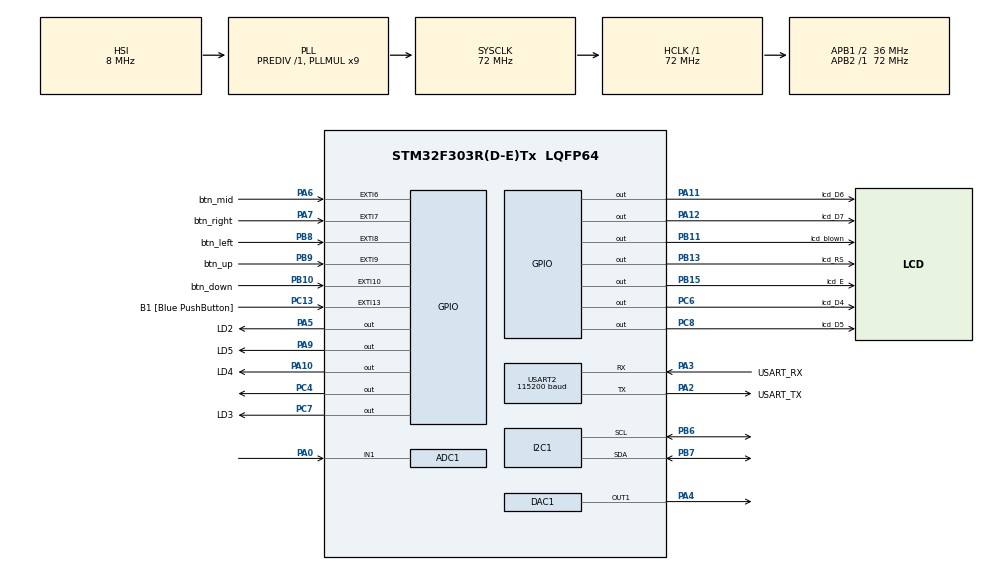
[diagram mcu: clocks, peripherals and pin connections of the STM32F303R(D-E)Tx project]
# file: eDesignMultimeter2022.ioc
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ADC1.Channel-0\#ChannelRegularConversion=ADC_CHANNEL_1
ADC1.NbrOfConversionFlag=1
ADC1.Offset-0\#ChannelRegularConversion=0
ADC1.OffsetNumber-0\#ChannelRegularConversion=ADC_OFFSET_NONE
ADC1.Rank-0\#ChannelRegularConversion=1
ADC1.SamplingTime-0\#ChannelRegularConversion=ADC_SAMPLETIME_1CYCLE_5
ADC1.master=1
DAC1.DAC_Trigger=DAC_TRIGGER_T2_TRGO
Dma.DAC1_CH1.0.Direction=DMA_MEMORY_TO_PERIPH
Dma.DAC1_CH1.0.Instance=DMA1_Channel3
Dma.DAC1_CH1.0.MemDataAlignment=DMA_MDATAALIGN_WORD
Dma.DAC1_CH1.0.MemInc=DMA_MINC_ENABLE
Dma.DAC1_CH1.0.Mode=DMA_CIRCULAR
Dma.DAC1_CH1.0.PeriphDataAlignment=DMA_PDATAALIGN_WORD
Dma.DAC1_CH1.0.PeriphInc=DMA_PINC_DISABLE
Dma.DAC1_CH1.0.Priority=DMA_PRIORITY_LOW
Dma.Request0=DAC1_CH1
Mcu.Family=STM32F3
Mcu.Name=STM32F303R(D-E)Tx
Mcu.Package=LQFP64
NVIC.DMA1_Channel3_IRQn=true\:0\:0\:false\:false\:true\:false\:true
NVIC.EXTI15_10_IRQn=true\:0\:0\:false\:false\:true\:true\:true
NVIC.EXTI9_5_IRQn=true\:0\:0\:false\:false\:true\:true\:true
NVIC.PriorityGroup=NVIC_PRIORITYGROUP_0
NVIC.TIM1_BRK_TIM15_IRQn=true\:0\:0\:false\:false\:true\:true\:true
NVIC.TIM1_TRG_COM_TIM17_IRQn=true\:0\:0\:false\:false\:true\:true\:true
NVIC.TIM1_UP_TIM16_IRQn=true\:0\:0\:false\:false\:true\:true\:true
NVIC.TIM2_IRQn=true\:0\:0\:false\:false\:true\:true\:true
NVIC.USART2_IRQn=true\:0\:0\:false\:false\:true\:true\:true
PA0.Mode=IN1-Single-Ended
PA0.Signal=ADC1_IN1
PA10.GPIO_Label=LD4
PA10.Signal=GPIO_Output
PA11.GPIO_Label=lcd_D6
PA11.GPIO_ModeDefaultOutputPP=GPIO_MODE_OUTPUT_OD
PA11.Signal=GPIO_Output
PA12.GPIO_Label=lcd_D7
PA12.GPIO_ModeDefaultOutputPP=GPIO_MODE_OUTPUT_OD
PA12.Signal=GPIO_Output
PA13.GPIO_Label=TMS
PA13.Mode=Serial_Wire
PA13.Signal=SYS_JTMS-SWDIO
PA14.GPIO_Label=TCK
PA14.Mode=Serial_Wire
PA14.Signal=SYS_JTCK-SWCLK
PA2.GPIO_Label=USART_TX
PA2.GPIO_Mode=GPIO_MODE_AF_PP
PA2.GPIO_PuPd=GPIO_NOPULL
PA2.GPIO_Speed=GPIO_SPEED_FREQ_LOW
PA2.Mode=Asynchronous
PA2.Signal=USART2_TX
PA3.GPIO_Label=USART_RX
PA3.GPIO_Mode=GPIO_MODE_AF_PP
PA3.GPIO_PuPd=GPIO_NOPULL
PA3.GPIO_Speed=GPIO_SPEED_FREQ_LOW
PA3.Mode=Asynchronous
PA3.Signal=USART2_RX
PA4.Signal=COMP_DAC11_group
PA5.GPIO_Label=LD2
PA5.GPIO_Mode=GPIO_MODE_OUTPUT_PP
PA5.GPIO_PuPd=GPIO_NOPULL
PA5.GPIO_Speed=GPIO_SPEED_FREQ_LOW
PA5.Signal=GPIO_Output
PA6.GPIO_Label=btn_mid
PA6.GPIO_ModeDefaultEXTI=GPIO_MODE_IT_RISING_FALLING
PA6.GPIO_PuPd=GPIO_PULLUP
PA6.Signal=GPXTI6
PA7.GPIO_Label=btn_right
PA7.GPIO_PuPd=GPIO_PULLUP
PA7.Signal=GPXTI7
PA9.GPIO_Label=LD5
PA9.Signal=GPIO_Output
PB10.GPIO_Label=btn_down
PB10.GPIO_PuPd=GPIO_PULLUP
PB10.Signal=GPXTI10
PB11.GPIO_Label=lcd_blown
PB11.GPIO_ModeDefaultOutputPP=GPIO_MODE_OUTPUT_OD
PB11.Signal=GPIO_Output
PB13.GPIO_Label=lcd_RS
PB13.GPIO_ModeDefaultOutputPP=GPIO_MODE_OUTPUT_PP
PB13.Signal=GPIO_Output
PB15.GPIO_Label=lcd_E
PB15.GPIO_ModeDefaultOutputPP=GPIO_MODE_OUTPUT_PP
PB15.Signal=GPIO_Output
PB3.GPIO_Label=SWO
PB3.Signal=SYS_JTDO-TRACESWO
PB6.Mode=I2C
PB6.Signal=I2C1_SCL
PB7.Mode=I2C
PB7.Signal=I2C1_SDA
PB8.GPIO_Label=btn_left
PB8.GPIO_PuPd=GPIO_PULLUP
PB8.Signal=GPXTI8
PB9.GPIO_Label=btn_up
PB9.GPIO_PuPd=GPIO_PULLUP
PB9.Signal=GPXTI9
PC13.GPIO_Label=B1 [Blue PushButton]
PC13.GPIO_ModeDefaultEXTI=GPIO_MODE_IT_FALLING
PC13.Signal=GPXTI13
PC14-OSC32_IN.Mode=LSE-External-Oscillator
PC14-OSC32_IN.Signal=RCC_OSC32_IN
PC15-OSC32_OUT.Mode=LSE-External-Oscillator
PC15-OSC32_OUT.Signal=RCC_OSC32_OUT
PC4.GPIO_PuPd=GPIO_NOPULL
PC4.Signal=GPIO_Output
PC6.GPIO_Label=lcd_D4
PC6.GPIO_ModeDefaultOutputPP=GPIO_MODE_OUTPUT_OD
PC6.Signal=GPIO_Output
PC7.GPIO_Label=LD3
PC7.Signal=GPIO_Output
PC8.GPIO_Label=lcd_D5
PC8.GPIO_ModeDefaultOutputPP=GPIO_MODE_OUTPUT_OD
PC8.Signal=GPIO_Output
PF0-OSC_IN.Mode=HSE-External-Clock-Source
PF0-OSC_IN.Signal=RCC_OSC_IN
PF1-OSC_OUT.Signal=RCC_OSC_OUT
ProjectManager.HeapSize=0x200
ProjectManager.StackSize=0x400
ProjectManager.TargetToolchain=STM32CubeIDE
RCC.AHBFreq_Value=72000000
RCC.APB1CLKDivider=RCC_HCLK_DIV2
RCC.APB1Freq_Value=36000000
RCC.APB1TimFreq_Value=72000000
RCC.APB2Freq_Value=72000000
RCC.APB2TimFreq_Value=72000000
RCC.CortexFreq_Value=72000000
RCC.HCLKFreq_Value=72000000
RCC.HSE_VALUE=8000000
RCC.HSI_VALUE=8000000
RCC.PLLM=8
RCC.PLLMUL=RCC_PLL_MUL9
RCC.PLLN=336
RCC.PLLP=RCC_PLLP_DIV4
RCC.PLLQ=7
RCC.RCC_PLLsource_Clock_Source_FROM_HSE=RCC_HSE_PREDIV_DIV2
RCC.SYSCLKFreq_VALUE=72000000
RCC.SYSCLKSourceVirtual=RCC_SYSCLKSOURCE_PLLCLK
RCC.USBFreq_Value=72000000
SH.COMP_DAC11_group.0=DAC1_OUT1,DAC_OUT1
TIM15.Period=10-1
TIM15.Prescaler=72-1
TIM16.Period=50 - 1
TIM16.Prescaler=72-1
TIM17.Period=2500-1
TIM17.Prescaler=7200-1
TIM2.Period=1000-1
TIM2.Prescaler=0
TIM2.TIM_MasterOutputTrigger=TIM_TRGO_UPDATE
USART2.BaudRate=115200
USART2.VirtualMode-Asynchronous=VM_ASYNC
VP_TIM15_VS_ClockSourceINT.Mode=Internal
VP_TIM16_VS_ClockSourceINT.Mode=Enable_Timer
VP_TIM17_VS_ClockSourceINT.Mode=Enable_Timer
VP_TIM2_VS_ClockSourceINT.Mode=Internal
board=NUCLEO-F303RE

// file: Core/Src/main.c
/* USER CODE BEGIN Header */
/**
  ******************************************************************************
  * @file           : main.c
  * @brief          : Main program body
  ******************************************************************************
  * @attention
  *
  * <h2><center>&copy; Copyright (c) 2022 STMicroelectronics.
  * All rights reserved.</center></h2>
  *
  * This software component is licensed by ST under BSD 3-Clause license,
  * the "License"; You may not use this file except in compliance with the
  * License. You may obtain a copy of the License at:
  *                        opensource.org/licenses/BSD-3-Clause
  *
  ******************************************************************************
  */
/* USER CODE END Header */

#include "main.h"

/* USER CODE BEGIN Includes */
//#include <string.h>
//#include <stdio.h>
//#include <stdlib.h>
#include <stdbool.h>
#include "lcd.h"
#include "dac.h"
#include "uart.h"
#include "adc.h"
#include "i2c.h"

/* USER CODE END Includes */

/* USER CODE BEGIN PTD */

// System Display States

/* USER CODE END PTD */

ADC_HandleTypeDef hadc1;

DAC_HandleTypeDef hdac1;
DMA_HandleTypeDef hdma_dac1_ch1;

I2C_HandleTypeDef hi2c1;

TIM_HandleTypeDef htim2;
TIM_HandleTypeDef htim15;
TIM_HandleTypeDef htim16;
TIM_HandleTypeDef htim17;

UART_HandleTypeDef huart2;

void SystemClock_Config(void);
static void MX_GPIO_Init(void);
static void MX_DMA_Init(void);
static void MX_USART2_UART_Init(void);
static void MX_TIM16_Init(void);
static void MX_ADC1_Init(void);
static void MX_DAC1_Init(void);
static void MX_TIM2_Init(void);
static void MX_TIM17_Init(void);
static void MX_I2C1_Init(void);
static void MX_TIM15_Init(void);

/* USER CODE BEGIN 0 */

uint8_t std_num[13] = "@,21593698,!\n";
uint8_t btn_mid_flag = 0;
uint8_t btn_right_flag = 0;
uint8_t btn_up_flag = 0;
uint8_t btn_left_flag = 0;
uint8_t btn_down_flag = 0;
uint8_t adc_timer_flag = 0;
uint32_t last_ticks = 0;

// Flag set every 10 us
uint8_t us_10 = 0;

void HAL_UART_RxCpltCallback(UART_HandleTypeDef *huart)
{
	if((UartState.rx_bytes_counter == 0 && UartState.rx_byte[0] == '@') || UartState.rx_bytes_counter > 0)
	{
		UartState.rx_bytes[UartState.rx_bytes_counter] = UartState.rx_byte[0];
		UartState.rx_bytes_counter += 1;

		if(UartState.rx_byte[0] == '!')
		{
			UartState.message_received = 1;
			UartState.rx_bytes_length = UartState.rx_bytes_counter;
			UartState.rx_bytes_counter = 0;
		}
	}
	HAL_UART_Receive_IT(&huart2, UartState.rx_byte, 1);
}

void HAL_GPIO_EXTI_Callback(uint16_t GPIO_Pin)
{
	last_ticks = HAL_GetTick();
	if(GPIO_Pin == btn_mid_Pin)
	{
		btn_mid_flag = 1;
	}
	else if(GPIO_Pin == btn_right_Pin)
	{
		btn_right_flag = 1;
	}
	else if(GPIO_Pin == btn_up_Pin)
	{
		btn_up_flag = 1;
	}
	else if(GPIO_Pin == btn_left_Pin)
	{
		btn_left_flag = 1;
	}
	else if(GPIO_Pin == btn_down_Pin)
	{
		btn_down_flag = 1;
	}
}

/* USER CODE END 0 */

int main(void)
{
  /* USER CODE BEGIN 1 */

	OutputState.TIM2_Clock = 72000000;
	OutputState.On = false;
	OutputState.Mode = d;
	OutputState.Amplitude = 1000;
	OutputState.Offset = 1200;
	OutputState.Frequency = 1000;
	OutputState.DutyCycle = 25;

	MeasurementState.Mode = DV;
	MeasurementState.Amplitude = 0;
	MeasurementState.Frequency = 0;
	MeasurementState.Offset = 0;
	MeasurementState.Period = 0;

	CurrentState.Amplitude = 0;
	CurrentState.Frequency = 0;
	CurrentState.Offset = 0;
	CurrentState.Period = 0;

	DisplayState.PrintFlag = 0;
	DisplayState.RefreshFlag = 0;
	DisplayState.RefreshCounter = 0;
	DisplayState.DisplayPosition = 0;
	DisplayState.ToplineCharacters = 0;
	DisplayState.BottomlineCharacters = 0;
	DisplayState.CurrentLine = Topline;
	DisplayState.LastMode = Menu;
	DisplayState.CurrentBranch = Top;

	// Tempory Measurement Values
	MeasurementState.Offset = 1000;
	MeasurementState.Frequency = 5250;
	MeasurementState.Amplitude = 500;

	UartState.rx_bytes_counter = 0;
	UartState.rx_bytes_length = 0;
	UartState.message_received = 0;

	CurrentState.Measure_Flag = 0;

  /* USER CODE END 1 */

  /* MCU Configuration--------------------------------------------------------*/

  /* Reset of all peripherals, Initializes the Flash interface and the Systick. */
  HAL_Init();

  /* Configure the system clock */
  SystemClock_Config();

  /* Initialize all configured peripherals */
  MX_GPIO_Init();
  MX_DMA_Init();
  MX_USART2_UART_Init();
  MX_TIM16_Init();
  MX_ADC1_Init();
  MX_DAC1_Init();
  MX_TIM2_Init();
  MX_TIM17_Init();
  MX_I2C1_Init();
  MX_TIM15_Init();
  /* USER CODE BEGIN 2 */

  	// Transmit Student Number
	HAL_UART_Transmit(&huart2, std_num, 13, 10);
	HAL_UART_Receive_IT(&huart2, UartState.rx_byte, 1);

	// Init ADC Timer
	HAL_TIM_Base_Start_IT(&htim16);

	// Init LCD Refresh Timer
	HAL_TIM_Base_Start_IT(&htim17);

	// Init 10us Timer
	HAL_TIM_Base_Start_IT(&htim15);

	// Init LCD
	LCD_Init();

	// Init Display State
	HAL_Delay(1);
	LCD_changeDisplayMode(Menu);

	// Init DAC Timer
	HAL_TIM_Base_Start(&htim2);

	// Update DAC to ensure it starts off
	DAC_Update_Output();

	//Testing
	HAL_GPIO_WritePin(GPIOC, GPIO_PIN_4, GPIO_PIN_SET);

	// Init Current Sensor
	Init_Current_Sensor();

  /* USER CODE END 2 */

  /* Infinite loop */
  /* USER CODE BEGIN WHILE */
  while (1)
  {
	  // LCD Refresh Flag
	  if(DisplayState.RefreshFlag == 1)
	  {
		  if(DisplayState.Mode == Measurement)
		  {
			  DisplayState.RefreshCounter ++;
			  if(DisplayState.RefreshCounter > 2)
			  {
				  LCD_Display_Measurement();
				  if(MeasurementState.Mode == AV || (OutputState.On && OutputState.Mode != 'd') || MeasurementState.Mode == AI)
				  {
					  LCD_AutoScroll();
				  }
				  DisplayState.RefreshCounter = 0;
			  }

		  }
		  DisplayState.RefreshFlag = 0;
	  }

	  // LCD UART OUTPUT JOB
	  if(DisplayState.PrintFlag)
	  {
		  if(DisplayState.Mode != Output)
		  {
			  LCD_changeDisplayMode(Output);
		  }
		  LCD_Write_Character_Shift(DisplayState.PrintByte);
		  DisplayState.PrintFlag = 0;
	  }

	  // UART JOB
	  if(UartState.message_received)
	  {
		  UART_Interpret_Rx_Message();
		  UartState.message_received = 0;
	  }

	  // CURRENT JOB
	  if(CurrentState.Measure_Flag)
	  {
		  Read_Current();
		  CurrentState.Measure_Flag = 0;
	  }

	  // BUTTONS JOB
	  if(btn_up_flag)
	  {
		  if(HAL_GetTick() - last_ticks >= 55)
		  {
			  if(HAL_GPIO_ReadPin(btn_up_GPIO_Port, btn_up_Pin))
			  {
//				  uint32_t code = HAL_UART_GetError(&huart2);
				  if(DisplayState.Mode == Menu)
				  {
					  LCD_Branch_Action(Up);
				  }
			  }
			  btn_up_flag = 0;
		  }
	  }
	  else if(btn_left_flag)
	  {
		  if(HAL_GetTick() - last_ticks >= 55)
		  {
			  if(HAL_GPIO_ReadPin(btn_left_GPIO_Port, btn_left_Pin))
			  {
				  if(DisplayState.Mode == Menu)
				  {
					  LCD_Branch_Action(Left);
				  }
				  else
				  {
					  LCD_Write_Instruction(0b00011100); // Scroll
					  Delay_us_10(5);
				  }
			  }
			  btn_left_flag = 0;
		  }
	  }
	  else if(btn_down_flag)
	  {
		  if(HAL_GetTick() - last_ticks >= 55)
		  {
			  if(HAL_GPIO_ReadPin(btn_down_GPIO_Port, btn_down_Pin))
			  {
				  if(DisplayState.Mode == Menu)
				  {
					  LCD_Branch_Action(Down);
				  }
			  }
			  btn_down_flag = 0;
		  }
	  }
	  else if(btn_right_flag)
	  {
		  if(HAL_GetTick() - last_ticks >= 55)
		  {
			  if(HAL_GPIO_ReadPin(btn_right_GPIO_Port, btn_right_Pin))
			  {
				  if(DisplayState.Mode == Menu)
				  {
					  LCD_Branch_Action(Right);
				  }
				  else
				  {
					  LCD_Write_Instruction(0b00011000); // Scroll
					  Delay_us_10(5);
				  }
			  }
			  btn_right_flag = 0;
		  }
	  }
	  else if(btn_mid_flag)
	  {
		  if(HAL_GetTick() - last_ticks >= 20)
		  {
			  if(HAL_GPIO_ReadPin(btn_mid_GPIO_Port, btn_mid_Pin))
			  {
				  // Toggle Menu Display state
				  if(DisplayState.Mode == Menu)
				  {
					  if(DisplayState.CurrentBranch == Top)
					  {
						  LCD_changeDisplayMode(Measurement);
					  }
					  else
					  {
						  LCD_Branch_Action(Enter);
					  }
				  }
				  else if(DisplayState.Mode == Measurement)
				  {
					  LCD_changeDisplayMode(Menu);
				  }
				  else if(DisplayState.Mode == Output)
				  {
					  LCD_changeDisplayMode(DisplayState.LastMode);
				  }
			  }
			  btn_mid_flag = 0;
		  }
	  }

	  // ADC JOB
	  if(adc_timer_flag)
	  {
		  ADC_Main_Function();
		  adc_timer_flag = 0;
	  }

    /* USER CODE END WHILE */

  }
}

void SystemClock_Config(void)
{
  RCC_OscInitTypeDef RCC_OscInitStruct = {0};
  RCC_ClkInitTypeDef RCC_ClkInitStruct = {0};
  RCC_PeriphCLKInitTypeDef PeriphClkInit = {0};

  /** Initializes the CPU, AHB and APB busses clocks
  */
  RCC_OscInitStruct.OscillatorType = RCC_OSCILLATORTYPE_HSI;
  RCC_OscInitStruct.HSIState = RCC_HSI_ON;
  RCC_OscInitStruct.HSICalibrationValue = RCC_HSICALIBRATION_DEFAULT;
  RCC_OscInitStruct.PLL.PLLState = RCC_PLL_ON;
  RCC_OscInitStruct.PLL.PLLSource = RCC_PLLSOURCE_HSI;
  RCC_OscInitStruct.PLL.PLLMUL = RCC_PLL_MUL9;
  RCC_OscInitStruct.PLL.PREDIV = RCC_PREDIV_DIV1;
  if (HAL_RCC_OscConfig(&RCC_OscInitStruct) != HAL_OK)
  {
    Error_Handler();
  }
  /** Initializes the CPU, AHB and APB busses clocks
  */
  RCC_ClkInitStruct.ClockType = RCC_CLOCKTYPE_HCLK|RCC_CLOCKTYPE_SYSCLK
                              |RCC_CLOCKTYPE_PCLK1|RCC_CLOCKTYPE_PCLK2;
  RCC_ClkInitStruct.SYSCLKSource = RCC_SYSCLKSOURCE_PLLCLK;
  RCC_ClkInitStruct.AHBCLKDivider = RCC_SYSCLK_DIV1;
  RCC_ClkInitStruct.APB1CLKDivider = RCC_HCLK_DIV2;
  RCC_ClkInitStruct.APB2CLKDivider = RCC_HCLK_DIV1;

  if (HAL_RCC_ClockConfig(&RCC_ClkInitStruct, FLASH_LATENCY_2) != HAL_OK)
  {
    Error_Handler();
  }
  PeriphClkInit.PeriphClockSelection = RCC_PERIPHCLK_USART2|RCC_PERIPHCLK_I2C1
                              |RCC_PERIPHCLK_TIM15|RCC_PERIPHCLK_TIM16
                              |RCC_PERIPHCLK_TIM17|RCC_PERIPHCLK_ADC12
                              |RCC_PERIPHCLK_TIM2;
  PeriphClkInit.Usart2ClockSelection = RCC_USART2CLKSOURCE_PCLK1;
  PeriphClkInit.Adc12ClockSelection = RCC_ADC12PLLCLK_DIV1;
  PeriphClkInit.I2c1ClockSelection = RCC_I2C1CLKSOURCE_HSI;
  PeriphClkInit.Tim15ClockSelection = RCC_TIM15CLK_HCLK;
  PeriphClkInit.Tim16ClockSelection = RCC_TIM16CLK_HCLK;
  PeriphClkInit.Tim17ClockSelection = RCC_TIM17CLK_HCLK;
  PeriphClkInit.Tim2ClockSelection = RCC_TIM2CLK_HCLK;
  if (HAL_RCCEx_PeriphCLKConfig(&PeriphClkInit) != HAL_OK)
  {
    Error_Handler();
  }
}

static void MX_ADC1_Init(void)
{

  ADC_MultiModeTypeDef multimode = {0};
  ADC_ChannelConfTypeDef sConfig = {0};

  /** Common config
  */
  hadc1.Instance = ADC1;
  hadc1.Init.ClockPrescaler = ADC_CLOCK_ASYNC_DIV1;
  hadc1.Init.Resolution = ADC_RESOLUTION_12B;
  hadc1.Init.ScanConvMode = ADC_SCAN_DISABLE;
  hadc1.Init.ContinuousConvMode = DISABLE;
  hadc1.Init.DiscontinuousConvMode = DISABLE;
  hadc1.Init.ExternalTrigConvEdge = ADC_EXTERNALTRIGCONVEDGE_NONE;
  hadc1.Init.ExternalTrigConv = ADC_SOFTWARE_START;
  hadc1.Init.DataAlign = ADC_DATAALIGN_RIGHT;
  hadc1.Init.NbrOfConversion = 1;
  hadc1.Init.DMAContinuousRequests = DISABLE;
  hadc1.Init.EOCSelection = ADC_EOC_SINGLE_CONV;
  hadc1.Init.LowPowerAutoWait = DISABLE;
  hadc1.Init.Overrun = ADC_OVR_DATA_OVERWRITTEN;
  if (HAL_ADC_Init(&hadc1) != HAL_OK)
  {
    Error_Handler();
  }
  /** Configure the ADC multi-mode
  */
  multimode.Mode = ADC_MODE_INDEPENDENT;
  if (HAL_ADCEx_MultiModeConfigChannel(&hadc1, &multimode) != HAL_OK)
  {
    Error_Handler();
  }
  /** Configure Regular Channel
  */
  sConfig.Channel = ADC_CHANNEL_1;
  sConfig.Rank = ADC_REGULAR_RANK_1;
  sConfig.SingleDiff = ADC_SINGLE_ENDED;
  sConfig.SamplingTime = ADC_SAMPLETIME_1CYCLE_5;
  sConfig.OffsetNumber = ADC_OFFSET_NONE;
  sConfig.Offset = 0;
  if (HAL_ADC_ConfigChannel(&hadc1, &sConfig) != HAL_OK)
  {
    Error_Handler();
  }

}

static void MX_DAC1_Init(void)
{

  DAC_ChannelConfTypeDef sConfig = {0};

  /** DAC Initialization
  */
  hdac1.Instance = DAC1;
  if (HAL_DAC_Init(&hdac1) != HAL_OK)
  {
    Error_Handler();
  }
  /** DAC channel OUT1 config
  */
  sConfig.DAC_Trigger = DAC_TRIGGER_T2_TRGO;
  sConfig.DAC_OutputBuffer = DAC_OUTPUTBUFFER_ENABLE;
  if (HAL_DAC_ConfigChannel(&hdac1, &sConfig, DAC_CHANNEL_1) != HAL_OK)
  {
    Error_Handler();
  }

}

static void MX_I2C1_Init(void)
{

  hi2c1.Instance = I2C1;
  hi2c1.Init.Timing = 0x2000090E;
  hi2c1.Init.OwnAddress1 = 0;
  hi2c1.Init.AddressingMode = I2C_ADDRESSINGMODE_7BIT;
  hi2c1.Init.DualAddressMode = I2C_DUALADDRESS_DISABLE;
  hi2c1.Init.OwnAddress2 = 0;
  hi2c1.Init.OwnAddress2Masks = I2C_OA2_NOMASK;
  hi2c1.Init.GeneralCallMode = I2C_GENERALCALL_DISABLE;
  hi2c1.Init.NoStretchMode = I2C_NOSTRETCH_DISABLE;
  if (HAL_I2C_Init(&hi2c1) != HAL_OK)
  {
    Error_Handler();
  }
  /** Configure Analogue filter
  */
  if (HAL_I2CEx_ConfigAnalogFilter(&hi2c1, I2C_ANALOGFILTER_ENABLE) != HAL_OK)
  {
    Error_Handler();
  }
  /** Configure Digital filter
  */
  if (HAL_I2CEx_ConfigDigitalFilter(&hi2c1, 0) != HAL_OK)
  {
    Error_Handler();
  }

}

static void MX_TIM2_Init(void)
{

  TIM_ClockConfigTypeDef sClockSourceConfig = {0};
  TIM_MasterConfigTypeDef sMasterConfig = {0};

  htim2.Instance = TIM2;
  htim2.Init.Prescaler = 0;
  htim2.Init.CounterMode = TIM_COUNTERMODE_UP;
  htim2.Init.Period = 1000-1;
  htim2.Init.ClockDivision = TIM_CLOCKDIVISION_DIV1;
  htim2.Init.AutoReloadPreload = TIM_AUTORELOAD_PRELOAD_DISABLE;
  if (HAL_TIM_Base_Init(&htim2) != HAL_OK)
  {
    Error_Handler();
  }
  sClockSourceConfig.ClockSource = TIM_CLOCKSOURCE_INTERNAL;
  if (HAL_TIM_ConfigClockSource(&htim2, &sClockSourceConfig) != HAL_OK)
  {
    Error_Handler();
  }
  sMasterConfig.MasterOutputTrigger = TIM_TRGO_UPDATE;
  sMasterConfig.MasterSlaveMode = TIM_MASTERSLAVEMODE_DISABLE;
  if (HAL_TIMEx_MasterConfigSynchronization(&htim2, &sMasterConfig) != HAL_OK)
  {
    Error_Handler();
  }

}

static void MX_TIM15_Init(void)
{

  TIM_ClockConfigTypeDef sClockSourceConfig = {0};
  TIM_MasterConfigTypeDef sMasterConfig = {0};

  htim15.Instance = TIM15;
  htim15.Init.Prescaler = 72-1;
  htim15.Init.CounterMode = TIM_COUNTERMODE_UP;
  htim15.Init.Period = 10-1;
  htim15.Init.ClockDivision = TIM_CLOCKDIVISION_DIV1;
  htim15.Init.RepetitionCounter = 0;
  htim15.Init.AutoReloadPreload = TIM_AUTORELOAD_PRELOAD_DISABLE;
  if (HAL_TIM_Base_Init(&htim15) != HAL_OK)
  {
    Error_Handler();
  }
  sClockSourceConfig.ClockSource = TIM_CLOCKSOURCE_INTERNAL;
  if (HAL_TIM_ConfigClockSource(&htim15, &sClockSourceConfig) != HAL_OK)
  {
    Error_Handler();
  }
  sMasterConfig.MasterOutputTrigger = TIM_TRGO_RESET;
  sMasterConfig.MasterSlaveMode = TIM_MASTERSLAVEMODE_DISABLE;
  if (HAL_TIMEx_MasterConfigSynchronization(&htim15, &sMasterConfig) != HAL_OK)
  {
    Error_Handler();
  }

}

static void MX_TIM16_Init(void)
{

  htim16.Instance = TIM16;
  htim16.Init.Prescaler = 72-1;
  htim16.Init.CounterMode = TIM_COUNTERMODE_UP;
  htim16.Init.Period = 50 - 1;
  htim16.Init.ClockDivision = TIM_CLOCKDIVISION_DIV1;
  htim16.Init.RepetitionCounter = 0;
  htim16.Init.AutoReloadPreload = TIM_AUTORELOAD_PRELOAD_DISABLE;
  if (HAL_TIM_Base_Init(&htim16) != HAL_OK)
  {
    Error_Handler();
  }

}

static void MX_TIM17_Init(void)
{

  htim17.Instance = TIM17;
  htim17.Init.Prescaler = 7200-1;
  htim17.Init.CounterMode = TIM_COUNTERMODE_UP;
  htim17.Init.Period = 2500-1;
  htim17.Init.ClockDivision = TIM_CLOCKDIVISION_DIV1;
  htim17.Init.RepetitionCounter = 0;
  htim17.Init.AutoReloadPreload = TIM_AUTORELOAD_PRELOAD_DISABLE;
  if (HAL_TIM_Base_Init(&htim17) != HAL_OK)
  {
    Error_Handler();
  }

}

static void MX_USART2_UART_Init(void)
{

  huart2.Instance = USART2;
  huart2.Init.BaudRate = 115200;
  huart2.Init.WordLength = UART_WORDLENGTH_8B;
  huart2.Init.StopBits = UART_STOPBITS_1;
  huart2.Init.Parity = UART_PARITY_NONE;
  huart2.Init.Mode = UART_MODE_TX_RX;
  huart2.Init.HwFlowCtl = UART_HWCONTROL_NONE;
  huart2.Init.OverSampling = UART_OVERSAMPLING_16;
  huart2.Init.OneBitSampling = UART_ONE_BIT_SAMPLE_DISABLE;
  huart2.AdvancedInit.AdvFeatureInit = UART_ADVFEATURE_NO_INIT;
  if (HAL_UART_Init(&huart2) != HAL_OK)
  {
    Error_Handler();
  }

}

static void MX_DMA_Init(void)
{

  /* DMA controller clock enable */
  __HAL_RCC_DMA1_CLK_ENABLE();

  /* DMA interrupt init */
  /* DMA1_Channel3_IRQn interrupt configuration */
  HAL_NVIC_SetPriority(DMA1_Channel3_IRQn, 0, 0);
  HAL_NVIC_EnableIRQ(DMA1_Channel3_IRQn);

}

static void MX_GPIO_Init(void)
{
  GPIO_InitTypeDef GPIO_InitStruct = {0};

  /* GPIO Ports Clock Enable */
  __HAL_RCC_GPIOC_CLK_ENABLE();
  __HAL_RCC_GPIOF_CLK_ENABLE();
  __HAL_RCC_GPIOA_CLK_ENABLE();
  __HAL_RCC_GPIOB_CLK_ENABLE();

  /*Configure GPIO pin Output Level */
  HAL_GPIO_WritePin(GPIOA, LD2_Pin|LD5_Pin|LD4_Pin|lcd_D6_Pin
                          |lcd_D7_Pin, GPIO_PIN_RESET);

  /*Configure GPIO pin Output Level */
  HAL_GPIO_WritePin(GPIOC, GPIO_PIN_4|lcd_D4_Pin|LD3_Pin|lcd_D5_Pin, GPIO_PIN_RESET);

  /*Configure GPIO pin Output Level */
  HAL_GPIO_WritePin(GPIOB, lcd_blown_Pin|lcd_RS_Pin|lcd_E_Pin, GPIO_PIN_RESET);

  /*Configure GPIO pin : B1_Pin */
  GPIO_InitStruct.Pin = B1_Pin;
  GPIO_InitStruct.Mode = GPIO_MODE_IT_FALLING;
  GPIO_InitStruct.Pull = GPIO_NOPULL;
  HAL_GPIO_Init(B1_GPIO_Port, &GPIO_InitStruct);

  /*Configure GPIO pins : LD2_Pin LD5_Pin LD4_Pin */
  GPIO_InitStruct.Pin = LD2_Pin|LD5_Pin|LD4_Pin;
  GPIO_InitStruct.Mode = GPIO_MODE_OUTPUT_PP;
  GPIO_InitStruct.Pull = GPIO_NOPULL;
  GPIO_InitStruct.Speed = GPIO_SPEED_FREQ_LOW;
  HAL_GPIO_Init(GPIOA, &GPIO_InitStruct);

  /*Configure GPIO pin : btn_mid_Pin */
  GPIO_InitStruct.Pin = btn_mid_Pin;
  GPIO_InitStruct.Mode = GPIO_MODE_IT_RISING_FALLING;
  GPIO_InitStruct.Pull = GPIO_PULLUP;
  HAL_GPIO_Init(btn_mid_GPIO_Port, &GPIO_InitStruct);

  /*Configure GPIO pin : btn_right_Pin */
  GPIO_InitStruct.Pin = btn_right_Pin;
  GPIO_InitStruct.Mode = GPIO_MODE_IT_RISING;
  GPIO_InitStruct.Pull = GPIO_PULLUP;
  HAL_GPIO_Init(btn_right_GPIO_Port, &GPIO_InitStruct);

  /*Configure GPIO pins : PC4 LD3_Pin */
  GPIO_InitStruct.Pin = GPIO_PIN_4|LD3_Pin;
  GPIO_InitStruct.Mode = GPIO_MODE_OUTPUT_PP;
  GPIO_InitStruct.Pull = GPIO_NOPULL;
  GPIO_InitStruct.Speed = GPIO_SPEED_FREQ_LOW;
  HAL_GPIO_Init(GPIOC, &GPIO_InitStruct);

  /*Configure GPIO pins : btn_down_Pin btn_left_Pin btn_up_Pin */
  GPIO_InitStruct.Pin = btn_down_Pin|btn_left_Pin|btn_up_Pin;
  GPIO_InitStruct.Mode = GPIO_MODE_IT_RISING;
  GPIO_InitStruct.Pull = GPIO_PULLUP;
  HAL_GPIO_Init(GPIOB, &GPIO_InitStruct);

  /*Configure GPIO pin : lcd_blown_Pin */
  GPIO_InitStruct.Pin = lcd_blown_Pin;
  GPIO_InitStruct.Mode = GPIO_MODE_OUTPUT_OD;
  GPIO_InitStruct.Pull = GPIO_NOPULL;
  GPIO_InitStruct.Speed = GPIO_SPEED_FREQ_LOW;
  HAL_GPIO_Init(lcd_blown_GPIO_Port, &GPIO_InitStruct);

  /*Configure GPIO pins : lcd_RS_Pin lcd_E_Pin */
  GPIO_InitStruct.Pin = lcd_RS_Pin|lcd_E_Pin;
  GPIO_InitStruct.Mode = GPIO_MODE_OUTPUT_PP;
  GPIO_InitStruct.Pull = GPIO_NOPULL;
  GPIO_InitStruct.Speed = GPIO_SPEED_FREQ_LOW;
  HAL_GPIO_Init(GPIOB, &GPIO_InitStruct);

  /*Configure GPIO pins : lcd_D4_Pin lcd_D5_Pin */
  GPIO_InitStruct.Pin = lcd_D4_Pin|lcd_D5_Pin;
  GPIO_InitStruct.Mode = GPIO_MODE_OUTPUT_OD;
  GPIO_InitStruct.Pull = GPIO_NOPULL;
  GPIO_InitStruct.Speed = GPIO_SPEED_FREQ_LOW;
  HAL_GPIO_Init(GPIOC, &GPIO_InitStruct);

  /*Configure GPIO pins : lcd_D6_Pin lcd_D7_Pin */
  GPIO_InitStruct.Pin = lcd_D6_Pin|lcd_D7_Pin;
  GPIO_InitStruct.Mode = GPIO_MODE_OUTPUT_OD;
  GPIO_InitStruct.Pull = GPIO_NOPULL;
  GPIO_InitStruct.Speed = GPIO_SPEED_FREQ_LOW;
  HAL_GPIO_Init(GPIOA, &GPIO_InitStruct);

  /* EXTI interrupt init*/
  HAL_NVIC_SetPriority(EXTI9_5_IRQn, 0, 0);
  HAL_NVIC_EnableIRQ(EXTI9_5_IRQn);

  HAL_NVIC_SetPriority(EXTI15_10_IRQn, 0, 0);
  HAL_NVIC_EnableIRQ(EXTI15_10_IRQn);

}

/* USER CODE BEGIN 4 */

void HAL_TIM_PeriodElapsedCallback(TIM_HandleTypeDef *htim)
{
	// Check which version of the timer triggered this interrupt
	if(htim == &htim16){
		adc_timer_flag = 1;
	} else if (htim == &htim17){
		DisplayState.RefreshFlag = 1;
		CurrentState.Measure_Flag = 1;
	} else if (htim == &htim15){
		us_10 = 1;
	}
}

void Delay_us_10(uint8_t tens)
{
	uint8_t us_10_counter = 0;
	while(us_10_counter < tens)
	{
		if(us_10){
			us_10_counter ++;
			us_10 = 0;
		}
	}
}

/* USER CODE END 4 */

void Error_Handler(void)
{
}

/************************ (C) COPYRIGHT STMicroelectronics *****END OF FILE****/
